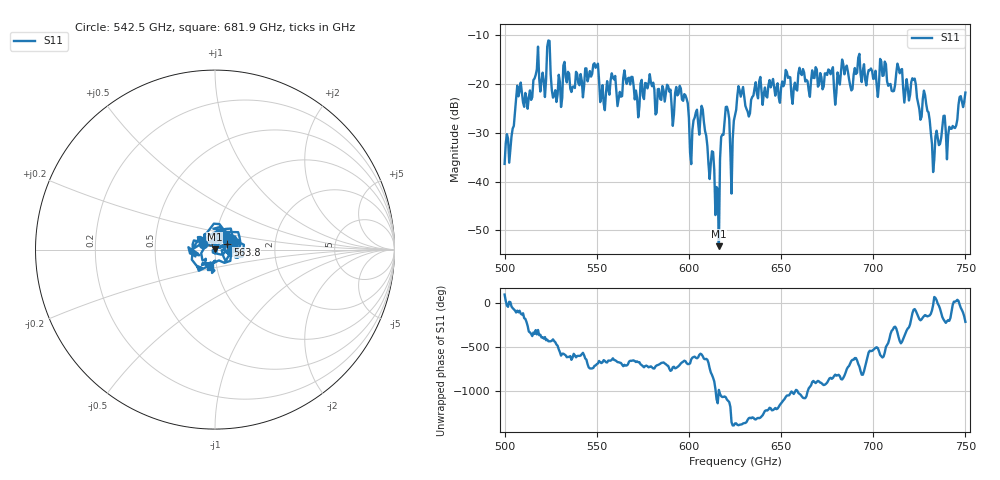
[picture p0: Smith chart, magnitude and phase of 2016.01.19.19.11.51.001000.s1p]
!Created with skrf (http://scikit-rf.org).
# GHz S RI R 50.0
!freq ReS11 ImS11
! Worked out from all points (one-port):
!   401 points, 500 GHz to 750 GHz, reference 50 ohm
!   lowest |S11| = -53.2 dB at 616.2 GHz (marker M1), VSWR 1.00, Z = 50 + j0.216 ohm
!   |S11| at or under -10 dB: start of sweep to end of sweep
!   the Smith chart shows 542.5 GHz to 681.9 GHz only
!   S11 on the Smith chart (normalised r, x): 542.5 GHz: 0.87, +0.05; 563.8 GHz: 1.15, +0.07; 681.9 GHz: 0.93, -0.18
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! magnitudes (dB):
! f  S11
! 500 GHz  -36.4
! 507.5 GHz  -22.5
! 520.6 GHz  -17.7
! 523.8 GHz  -11.1
! 526.9 GHz  -22.3
! 531.2 GHz  -22.9
! 542.5 GHz  -22.7
! 549.4 GHz  -16.7
! 553.1 GHz  -20.2
! 558.8 GHz  -18.7
! 562.5 GHz  -21.6
! 563.8 GHz  -22.5
! 593.8 GHz  -22.3
! 601.2 GHz  -36.4
! 607.5 GHz  -25.2
! 615 GHz  -41.1
! 616.2 GHz  -53.2
! 619.4 GHz  -27.5
! 623.1 GHz  -42.5
! 625 GHz  -26.5
! 628.1 GHz  -22.6
! 656.2 GHz  -24.1
! 681.9 GHz  -20.1
! 687.5 GHz  -20.3
! 718.8 GHz  -20.9
! 728.8 GHz  -24.1
! 732.5 GHz  -38.0
! 750 GHz  -21.8
